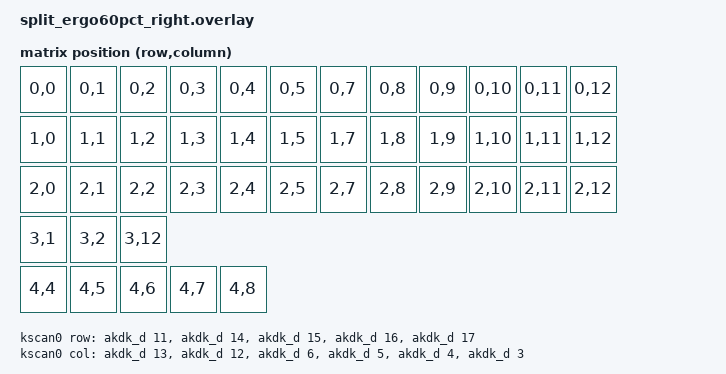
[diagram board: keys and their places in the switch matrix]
#include <dt-bindings/zmk/matrix_transform.h>
#include <input/processors.dtsi>
#include <dt-bindings/zmk/input_transform.h>
#include "layouts.dtsi"
#include "dongle.dtsi"


&spi0 {
    status = "okay";
    compatible = "nordic,nrf-spim";
    pinctrl-0 = <&spi0_default>;
    pinctrl-1 = <&spi0_sleep>;
    pinctrl-names = "default", "sleep";
    cs-gpios = <&gpio0 13 GPIO_ACTIVE_LOW>;

    trackball: trackball@0 {
        status = "okay";
        compatible = "pixart,paw3222";
        reg = <0>;
        spi-max-frequency = <2000000>;
        irq-gpios = <&gpio0 15 GPIO_ACTIVE_LOW>;
    };
};

// split pointingノードは rootのsplit_inputs配下にする
/ {
    chosen {
        zmk,physical-layout = &physical_layout0;
    };

    default_transform: keymap_transform_0 {
        compatible = "zmk,matrix-transform";
        columns = <13>;
        rows = <5>;
        map = <
            RC(0,0) RC(0,1) RC(0,2) RC(0,3) RC(0,4) RC(0,5) RC(0,7) RC(0,8) RC(0,9) RC(0,10) RC(0,11) RC(0,12)
            RC(1,0) RC(1,1) RC(1,2) RC(1,3) RC(1,4) RC(1,5) RC(1,7) RC(1,8) RC(1,9) RC(1,10) RC(1,11) RC(1,12)
            RC(2,0) RC(2,1) RC(2,2) RC(2,3) RC(2,4) RC(2,5) RC(2,7) RC(2,8) RC(2,9) RC(2,10) RC(2,11) RC(2,12)
            RC(3,1) RC(3,2) RC(3,12)
            RC(4,4) RC(4,5) RC(4,6) RC(4,7) RC(4,8)
        >;
        col-offset = <7>;
    };

    kscan0: kscan {
        compatible = "zmk,kscan-gpio-matrix";
        wakeup-source;

        diode-direction = "col2row";
        row-gpios = <&akdk_d 11 (GPIO_ACTIVE_HIGH | GPIO_PULL_DOWN)>,
                    <&akdk_d 14 (GPIO_ACTIVE_HIGH | GPIO_PULL_DOWN)>,
                    <&akdk_d 15 (GPIO_ACTIVE_HIGH | GPIO_PULL_DOWN)>,
                    <&akdk_d 16 (GPIO_ACTIVE_HIGH | GPIO_PULL_DOWN)>,
                    <&akdk_d 17 (GPIO_ACTIVE_HIGH | GPIO_PULL_DOWN)>;
        col-gpios = <&akdk_d 13 GPIO_ACTIVE_HIGH>,
                    <&akdk_d 12 GPIO_ACTIVE_HIGH>,
                    <&akdk_d 6  GPIO_ACTIVE_HIGH>,
                    <&akdk_d 5  GPIO_ACTIVE_HIGH>,
                    <&akdk_d 4  GPIO_ACTIVE_HIGH>,
                    <&akdk_d 3  GPIO_ACTIVE_HIGH>;
    };

    // split_inputs配下にtrackball_splitノードを設置
    split_inputs {
        #address-cells = <1>;
        #size-cells = <0>;
        trackball_split: trackball_split@0 {
            compatible = "zmk,input-split";
            reg = <0>;
            device = <&trackball>;
        };
    };
};

// 残りレイアウト関連
&physical_layout0 {
    kscan = <&kscan0>;
    transform = <&default_transform>;
};

&pinctrl {
    spi0_default: spi0_default {
        group1 {
            psels = <NRF_PSEL(SPIM_SCK, 0, 12)>,
                    <NRF_PSEL(SPIM_MOSI, 1, 9)>,
                    <NRF_PSEL(SPIM_MISO, 1, 9)>;
        };
    };
    spi0_sleep: spi0_sleep {
        group1 {
            psels = <NRF_PSEL(SPIM_SCK, 0, 12)>,
                    <NRF_PSEL(SPIM_MOSI, 1, 9)>,
                    <NRF_PSEL(SPIM_MISO, 1, 9)>;
            low-power-enable;
        };
    };
};
